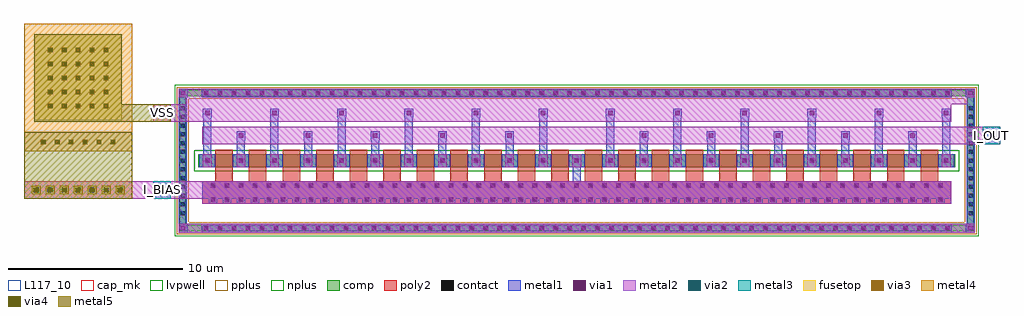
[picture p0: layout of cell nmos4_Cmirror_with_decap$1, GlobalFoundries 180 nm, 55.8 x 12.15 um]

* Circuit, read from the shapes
.subckt nmos4_Cmirror_with_decap$1 I_BIAS I_OUT VSS
XM1 I_OUT I_BIAS VSS VSS nfet_03v3 w=0.75u l=1u m=20
XM2 I_BIAS I_BIAS VSS VSS nfet_03v3 w=0.75u l=1u m=2
XC3 VSS I_BIAS cap_mim_2f0fF c_width=5u c_length=5u
.ends

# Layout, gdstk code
import gdstk
lib = gdstk.Library(unit=1e-6, precision=5e-09)
def R(c, l, rs):  # rectangles x0, y0, x1, y1
    for r in rs: c.add(gdstk.rectangle(r[:2], r[2:], *l))
def A(c, l, x, y, w, h, nx, ny, dx, dy):  # array of equal rectangles
    R(c, l, [(x+i*dx, y+j*dy, x+i*dx+w, y+j*dy+h) for i in range(nx) for j in range(ny)])
def P(c, l, *ps):  # polygons
    for p in ps: c.add(gdstk.Polygon(p, *l))
comp = (22, 0)
poly2 = (30, 0)
pplus = (31, 0)
nplus = (32, 0)
contact = (33, 0)
metal1 = (34, 0)
via1 = (35, 0)
metal2 = (36, 0)
via2 = (38, 0)
via3 = (40, 0)
via4 = (41, 0)
metal3 = (42, 0)
metal4 = (46, 0)
fusetop = (75, 0)
metal5 = (81, 0)
cap_mk = (117, 5)
L117_10 = (117, 10)
lvpwell = (204, 0)

cmirror_interdigitized_4 = lib.new_cell('cmirror_interdigitized$4')
A(cmirror_interdigitized_4, comp, -21.38, -4.045, 0.36, 0.36, 54, 2, 0.8, 7.73)
A(cmirror_interdigitized_4, comp, -22.7, -3.18, 0.36, 0.36, 1, 13, 0, 0.5)
A(cmirror_interdigitized_4, comp, 22.34, -3.18, 0.36, 0.36, 1, 13, 0, 0.5)
R(cmirror_interdigitized_4, comp, [(-21.38,-4.045,21.38,-3.685), (-22.7,-3.18,-22.34,3.18), (22.34,-3.18,22.7,3.18), (-21.65,-0.375,21.65,0.375), (-21.38,3.685,21.38,4.045)])
P(cmirror_interdigitized_4, comp, [(-22.7,-4.045),(-22.7,-3.685),(22.34,-3.685),(22.34,3.685),(-22.34,3.685),(-22.34,-3.685),(-22.7,-3.685),(-22.7,4.045),(22.7,4.045),(22.7,-4.045)])
A(cmirror_interdigitized_4, poly2, -20.98, -2.405, 0.36, 0.36, 53, 2, 0.8, 0.8)
A(cmirror_interdigitized_4, poly2, -20.66, -1.18, 1, 0.565, 22, 1, 1.92, 0)
A(cmirror_interdigitized_4, poly2, -20.66, -0.615, 1, 1.23, 22, 1, 1.92, 0)
R(cmirror_interdigitized_4, poly2, [(-21.4,-2.475,21.4,-1.175)])
P(cmirror_interdigitized_4, pplus, [(-22.86,-4.205),(-22.86,-3.525),(22.18,-3.525),(22.18,3.525),(-22.18,3.525),(-22.18,-3.525),(-22.86,-3.525),(-22.86,4.205),(22.86,4.205),(22.86,-4.205)])
R(cmirror_interdigitized_4, nplus, [(-21.88,-0.605,21.88,0.605)])
A(cmirror_interdigitized_4, contact, -21.31, -3.975, 0.22, 0.22, 54, 2, 0.8, 7.73)
A(cmirror_interdigitized_4, contact, -22.63, -3.11, 0.22, 0.22, 1, 13, 0, 0.5)
A(cmirror_interdigitized_4, contact, 22.41, -3.11, 0.22, 0.22, 1, 13, 0, 0.5)
A(cmirror_interdigitized_4, contact, -20.91, -2.335, 0.22, 0.22, 53, 2, 0.8, 0.8)
A(cmirror_interdigitized_4, contact, -21.23, -0.11, 0.22, 0.22, 23, 1, 1.92, 0)
A(cmirror_interdigitized_4, metal1, -21.45, -4.115, 0.5, 0.5, 54, 2, 0.8, 7.73)
A(cmirror_interdigitized_4, metal1, -22.75, -3.23, 0.46, 0.46, 1, 13, 0, 0.5)
A(cmirror_interdigitized_4, metal1, 22.29, -3.23, 0.46, 0.46, 1, 13, 0, 0.5)
A(cmirror_interdigitized_4, metal1, -21.05, -2.475, 0.5, 0.5, 53, 2, 0.8, 0.8)
A(cmirror_interdigitized_4, metal1, -21.58, -0.375, 0.92, 0.75, 23, 1, 1.92, 0)
A(cmirror_interdigitized_4, metal1, -21.35, -0.23, 0.46, 0.46, 23, 1, 1.92, 0)
A(cmirror_interdigitized_4, metal1, -21.35, 0.375, 0.46, 2.6, 12, 1, 3.84, 0)
A(cmirror_interdigitized_4, metal1, -19.43, 0.375, 0.46, 1.3, 5, 1, 3.84, 0)
A(cmirror_interdigitized_4, metal1, 3.61, 0.375, 0.46, 1.3, 5, 1, 3.84, 0)
A(cmirror_interdigitized_4, metal1, -19.45, 1.175, 0.5, 0.5, 5, 1, 3.84, 0)
A(cmirror_interdigitized_4, metal1, 3.59, 1.175, 0.5, 0.5, 5, 1, 3.84, 0)
A(cmirror_interdigitized_4, metal1, -21.37, 2.475, 0.5, 0.5, 12, 1, 3.84, 0)
R(cmirror_interdigitized_4, metal1, [(-22.75,-4.115,-22.25,-3.615), (-22.75,-4.115,-22.25,-3.615), (-22.75,-4.115,-22.29,-3.685), (-21.45,-4.115,21.45,-3.615), (22.25,-4.115,22.75,-3.615), (22.25,-4.115,22.75,-3.615), (22.29,-4.115,22.75,-3.685), (-22.75,-3.685,-22.29,3.685), (22.29,-3.685,22.75,3.685), (-21.4,-2.175,21.4,-1.175), (-0.23,-1.175,0.23,-0.375), (-21.37,-0.25,-20.87,0.25), (-21.37,-0.25,-20.87,0.25), (-19.45,-0.25,-18.95,0.25), (-19.45,-0.25,-18.95,0.25), (-17.53,-0.25,-17.03,0.25), (-17.53,-0.25,-17.03,0.25), (-15.61,-0.25,-15.11,0.25), (-15.61,-0.25,-15.11,0.25), (-13.69,-0.25,-13.19,0.25), (-13.69,-0.25,-13.19,0.25), (-11.77,-0.25,-11.27,0.25), (-11.77,-0.25,-11.27,0.25), (-9.85,-0.25,-9.35,0.25), (-9.85,-0.25,-9.35,0.25), (-7.93,-0.25,-7.43,0.25), (-7.93,-0.25,-7.43,0.25), (-6.01,-0.25,-5.51,0.25), (-6.01,-0.25,-5.51,0.25), (-4.09,-0.25,-3.59,0.25), (-4.09,-0.25,-3.59,0.25), (-2.17,-0.25,-1.67,0.25), (-2.17,-0.25,-1.67,0.25), (-0.25,-0.25,0.25,0.25), (-0.25,-0.25,0.25,0.25), (1.67,-0.25,2.17,0.25), (1.67,-0.25,2.17,0.25), (3.59,-0.25,4.09,0.25), (3.59,-0.25,4.09,0.25), (5.51,-0.25,6.01,0.25), (5.51,-0.25,6.01,0.25), (7.43,-0.25,7.93,0.25), (7.43,-0.25,7.93,0.25), (9.35,-0.25,9.85,0.25), (9.35,-0.25,9.85,0.25), (11.27,-0.25,11.77,0.25), (11.27,-0.25,11.77,0.25), (13.19,-0.25,13.69,0.25), (13.19,-0.25,13.69,0.25), (15.11,-0.25,15.61,0.25), (15.11,-0.25,15.61,0.25), (17.03,-0.25,17.53,0.25), (17.03,-0.25,17.53,0.25), (18.95,-0.25,19.45,0.25), (18.95,-0.25,19.45,0.25), (20.87,-0.25,21.37,0.25), (20.87,-0.25,21.37,0.25), (-22.75,3.615,-22.25,4.115), (-22.75,3.615,-22.25,4.115), (-21.45,3.615,21.45,4.115), (22.25,3.615,22.75,4.115), (22.25,3.615,22.75,4.115), (-22.75,3.685,-22.29,4.115), (22.29,3.685,22.75,4.115)])
A(cmirror_interdigitized_4, via1, -21.33, -3.995, 0.26, 0.26, 54, 2, 0.8, 7.73)
A(cmirror_interdigitized_4, via1, -20.93, -2.355, 0.26, 0.26, 53, 2, 0.8, 0.8)
A(cmirror_interdigitized_4, via1, -21.25, -0.13, 0.26, 0.26, 23, 1, 1.92, 0)
A(cmirror_interdigitized_4, via1, -19.33, 1.295, 0.26, 0.26, 5, 1, 3.84, 0)
A(cmirror_interdigitized_4, via1, 3.71, 1.295, 0.26, 0.26, 5, 1, 3.84, 0)
A(cmirror_interdigitized_4, via1, -21.25, 2.595, 0.26, 0.26, 12, 1, 3.84, 0)
R(cmirror_interdigitized_4, via1, [(-22.63,-3.995,-22.37,-3.735), (22.37,-3.995,22.63,-3.735), (-22.63,3.735,-22.37,3.995), (22.37,3.735,22.63,3.995)])
A(cmirror_interdigitized_4, metal2, -21.45, -4.115, 0.5, 0.5, 54, 2, 0.8, 7.73)
A(cmirror_interdigitized_4, metal2, -21.05, -2.475, 0.5, 0.5, 53, 2, 0.8, 0.8)
A(cmirror_interdigitized_4, metal2, -21.37, -0.375, 0.5, 0.75, 23, 1, 1.92, 0)
A(cmirror_interdigitized_4, metal2, -21.37, -0.25, 0.5, 0.5, 23, 1, 1.92, 0)
A(cmirror_interdigitized_4, metal2, -19.45, 1.175, 0.5, 0.5, 5, 1, 3.84, 0)
A(cmirror_interdigitized_4, metal2, 3.59, 1.175, 0.5, 0.5, 5, 1, 3.84, 0)
A(cmirror_interdigitized_4, metal2, -21.37, 2.475, 0.5, 0.5, 12, 1, 3.84, 0)
R(cmirror_interdigitized_4, metal2, [(-22.75,-4.115,-22.25,-3.615), (-22.75,-4.115,-22.25,-3.615), (-22.75,-4.115,-22.34,-3.615), (-22.34,-4.115,22.34,-3.615), (22.25,-4.115,22.75,-3.615), (22.25,-4.115,22.75,-3.615), (22.34,-4.115,22.75,-3.615), (-21.4,-2.475,21.4,-1.175), (-21.4,-2.175,21.4,-1.175), (-21.4,0.925,21.4,1.925), (-21.4,2.225,21.4,3.225), (-22.34,3.225,22.34,4.115), (-22.75,3.615,-22.25,4.115), (-22.75,3.615,-22.25,4.115), (-22.75,3.615,-22.34,4.115), (-22.34,3.615,22.34,4.115), (22.25,3.615,22.75,4.115), (22.25,3.615,22.75,4.115), (22.34,3.615,22.75,4.115)])
R(cmirror_interdigitized_4, lvpwell, [(-22.98,-4.325,22.98,4.325)])

via_array_6f2c13fe_6_3 = lib.new_cell('via_array_6f2c13fe$6$3')
R(via_array_6f2c13fe_6_3, metal2, [(-0.5,-0.5,0.5,0.5), (-0.25,-0.25,0.25,0.25)])
R(via_array_6f2c13fe_6_3, via2, [(-0.13,-0.13,0.13,0.13)])
R(via_array_6f2c13fe_6_3, metal3, [(-0.5,-0.5,0.5,0.5), (-0.25,-0.25,0.25,0.25)])

via_array_6f2c13fe_7_2 = lib.new_cell('via_array_6f2c13fe$7$2')
R(via_array_6f2c13fe_7_2, metal2, [(-0.5,-0.5,0.5,0.5), (-0.25,-0.25,0.25,0.25)])
R(via_array_6f2c13fe_7_2, via2, [(-0.13,-0.13,0.13,0.13)])
R(via_array_6f2c13fe_7_2, metal3, [(-0.5,-0.5,0.5,0.5), (-0.25,-0.25,0.25,0.25)])

via_array_3a42d9f3_3_2 = lib.new_cell('via_array_3a42d9f3$3$2')
R(via_array_3a42d9f3_3_2, metal2, [(-0.5,-0.5,0.5,0.5), (-0.25,-0.25,0.25,0.25)])
R(via_array_3a42d9f3_3_2, via2, [(-0.13,-0.13,0.13,0.13)])
R(via_array_3a42d9f3_3_2, via3, [(-0.13,-0.13,0.13,0.13)])
R(via_array_3a42d9f3_3_2, via4, [(-0.13,-0.13,0.13,0.13)])
R(via_array_3a42d9f3_3_2, metal3, [(-0.25,-0.25,0.25,0.25)])
R(via_array_3a42d9f3_3_2, metal4, [(-0.25,-0.25,0.25,0.25)])
R(via_array_3a42d9f3_3_2, metal5, [(-0.5,-0.5,0.5,0.5), (-0.25,-0.25,0.25,0.25)])

straight_route_7f878439 = lib.new_cell('straight_route_7f878439')
R(straight_route_7f878439, metal2, [(-24.2,-2.175,-21.4,-1.175)])

straight_route_7f444776 = lib.new_cell('straight_route_7f444776')
R(straight_route_7f444776, metal2, [(-21.4,0.925,23.2,1.925)])

straight_route_26751db4 = lib.new_cell('straight_route_26751db4')
R(straight_route_26751db4, metal2, [(-24.2,2.225,-21.4,3.225)])

unnamed_1cada8a1 = lib.new_cell('Unnamed_1cada8a1')
A(unnamed_1cada8a1, via4, -1.73, -1.73, 0.26, 0.26, 5, 5, 0.8, 0.8)
R(unnamed_1cada8a1, metal4, [(-3.1,-3.1,3.1,3.1)])
R(unnamed_1cada8a1, fusetop, [(-2.5,-2.5,2.5,2.5)])
A(unnamed_1cada8a1, metal5, -1.85, -1.85, 0.5, 0.5, 5, 5, 0.8, 0.8)
R(unnamed_1cada8a1, metal5, [(-2.5,-2.5,2.5,2.5)])
R(unnamed_1cada8a1, cap_mk, [(-3.1,-3.1,3.1,3.1)])
R(unnamed_1cada8a1, L117_10, [(-2.5,-2.5,2.5,-2.4)])

via_array_9dce04dd_4 = lib.new_cell('via_array_9dce04dd$4')
A(via_array_9dce04dd_4, via4, -2.13, -0.13, 0.26, 0.26, 6, 1, 0.8, 0)
A(via_array_9dce04dd_4, metal4, -2.25, -0.25, 0.5, 0.5, 6, 1, 0.8, 0)
R(via_array_9dce04dd_4, metal4, [(-3.1,-0.55,3.1,0.55)])
A(via_array_9dce04dd_4, metal5, -2.25, -0.25, 0.5, 0.5, 6, 1, 0.8, 0)
R(via_array_9dce04dd_4, metal5, [(-3.1,-0.55,3.1,0.55)])

straight_route_0041e98a = lib.new_cell('straight_route_0041e98a')
R(straight_route_0041e98a, metal5, [(-26,2.225,-24.2,3.225)])

l_route_68bb4228 = lib.new_cell('L_route_68bb4228')
A(l_route_68bb4228, metal2, -31.15, -1.925, 0.5, 0.5, 7, 1, 0.8, 0)
R(l_route_68bb4228, metal2, [(-31.6,-2.175,-24.2,-1.175), (-31.15,-1.925,-25.85,-1.425)])
A(l_route_68bb4228, via2, -31.03, -1.805, 0.26, 0.26, 7, 1, 0.8, 0)
A(l_route_68bb4228, via3, -31.03, -1.805, 0.26, 0.26, 7, 1, 0.8, 0)
A(l_route_68bb4228, via4, -31.03, -1.805, 0.26, 0.26, 7, 1, 0.8, 0)
A(l_route_68bb4228, metal3, -31.15, -1.925, 0.5, 0.5, 7, 1, 0.8, 0)
A(l_route_68bb4228, metal4, -31.15, -1.925, 0.5, 0.5, 7, 1, 0.8, 0)
A(l_route_68bb4228, metal5, -31.15, -1.925, 0.5, 0.5, 7, 1, 0.8, 0)
R(l_route_68bb4228, metal5, [(-31.6,-2.175,-25.4,-1.175), (-31.6,-2.175,-25.4,1.625)])

nmos4_cmirror_with_decap = lib.new_cell('nmos4_Cmirror_with_decap$1')
nmos4_cmirror_with_decap.add(gdstk.Reference(cmirror_interdigitized_4, (0,0)))
nmos4_cmirror_with_decap.add(gdstk.Reference(via_array_6f2c13fe_6_3, (-23.7,-1.675)))
nmos4_cmirror_with_decap.add(gdstk.Reference(via_array_6f2c13fe_7_2, (23.7,1.425)))
nmos4_cmirror_with_decap.add(gdstk.Reference(via_array_3a42d9f3_3_2, (-23.7,2.725)))
nmos4_cmirror_with_decap.add(gdstk.Reference(straight_route_7f878439, (0,0)))
nmos4_cmirror_with_decap.add(gdstk.Reference(straight_route_7f444776, (0,0)))
nmos4_cmirror_with_decap.add(gdstk.Reference(straight_route_26751db4, (0,0)))
nmos4_cmirror_with_decap.add(gdstk.Reference(unnamed_1cada8a1, (-28.5,4.725)))
nmos4_cmirror_with_decap.add(gdstk.Reference(via_array_9dce04dd_4, (-28.5,1.075)))
nmos4_cmirror_with_decap.add(gdstk.Reference(straight_route_0041e98a, (0,0)))
nmos4_cmirror_with_decap.add(gdstk.Reference(l_route_68bb4228, (0,0)))
nmos4_cmirror_with_decap.add(gdstk.Label('I_BIAS', (-23.7,-1.675), layer=42, texttype=10))
nmos4_cmirror_with_decap.add(gdstk.Label('I_OUT', (23.7,1.425), layer=42, texttype=10))
nmos4_cmirror_with_decap.add(gdstk.Label('VSS', (-23.7,2.725), layer=81, texttype=10))

lib.write_gds('nmos4_Cmirror_with_decap_1.gds')
